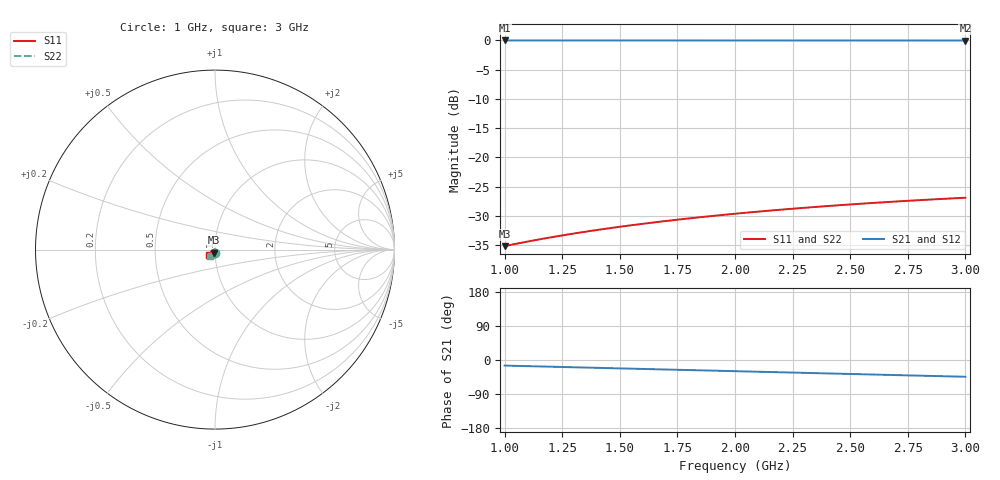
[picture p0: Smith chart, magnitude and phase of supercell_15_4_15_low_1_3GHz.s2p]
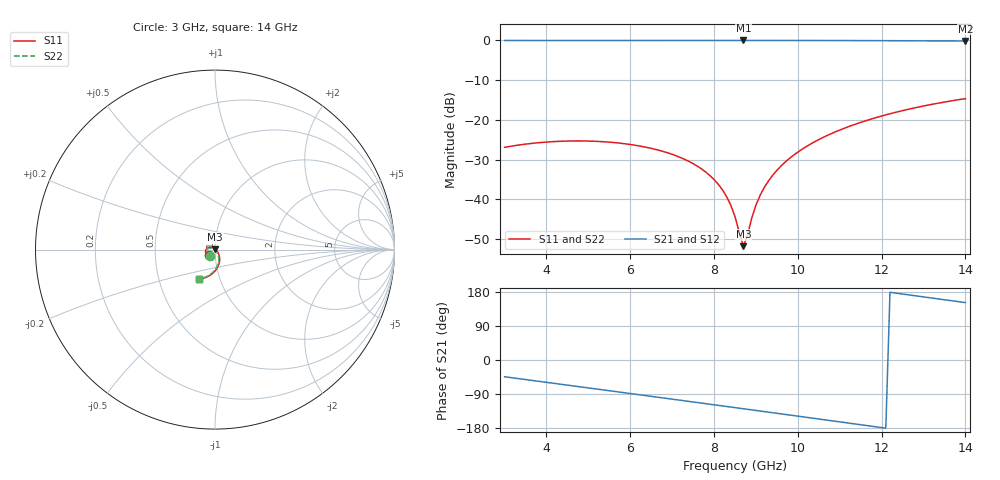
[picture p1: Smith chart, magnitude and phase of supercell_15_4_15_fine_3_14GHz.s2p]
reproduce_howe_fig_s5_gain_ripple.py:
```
#!/usr/bin/env python3
"""Analytic and numerical reflection ripple for the baseline device.

Howe et al., arXiv:2507.07706, Eq. (S.1) supplies the analytic estimate.
The baseline calculation uses the step-34 gain profile at 14.10 GHz,
unit power transmittivity, and Bloch boundary reflection coefficients.
An eight-mode solve resolves numerical ripple over 6–8 GHz.
Outputs are stored in result step 37."""

from __future__ import annotations

import csv
import time

from _bootstrap import ROOT

import matplotlib.pyplot as plt
import numpy as np
from twpasolver import TWPAnalysis
from twpasolver.modes_rwa import ModeArrayFactory

from device_models import build_twpa_from_hfss
from gain_ripple import db_to_linear_power, gain_ripple_db
from hfss_bloch import apply_bloch_parameters
from io_utils import read_touchstone, write_csv_rows, write_json
from plotting import save_figure

INPUTS = ROOT / "hfss_inputs"
OUTPUT = ROOT / "results" / "bloch_corrected" / "step_37_gain_ripple_analytic"
STEP34 = ROOT / "results" / "bloch_corrected" / "step_34_howe_fig3_hfss_bloch_reproduction"
CELLS_PER_SUPERCELL = 34

OUR_GBP_OPTIMAL_PUMP_GHZ = 14.10  # from step_34's 05_provenance.json
OUR_LINE_TRANSMITTIVITY = 1.0  # self-consistent with the project's zero-loss HFSS/Bloch policy
SIGNAL_SWEEP_GHZ = np.arange(2.5, 11.51, 0.05)
FINE_RIPPLE_WINDOW_GHZ = np.arange(
    6.0, 8.001, 0.01
)  # narrow, fine window in the low-ripple part of the dome


def load_measured_supercell_s_parameters() -> tuple[np.ndarray, np.ndarray]:
    """Stitched 1–27 GHz supercell frequencies and S matrices."""
    low_freq, low_s = read_touchstone(INPUTS / "supercell_15_4_15_low_1_3GHz.s2p")
    fine_freq, fine_s = read_touchstone(INPUTS / "supercell_15_4_15_fine_3_14GHz.s2p")
    aux_freq, aux_s = read_touchstone(INPUTS / "supercell_15_4_15_aux_14_27GHz.s2p")
    frequencies_ghz = np.concatenate((low_freq, fine_freq[1:], aux_freq[1:]))
    s_matrices = np.concatenate((low_s, fine_s[1:], aux_s[1:]), axis=0)
    return frequencies_ghz, s_matrices


def reproduce_paper_panels() -> None:
    """Analytic Fig. S.5 panels evaluated on the published parameter grids."""
    reflection_db_grid = np.array([-20, -13, -11, -10])
    reflection_magnitude_grid = 10 ** (reflection_db_grid / 20.0)
    gain_db_axis = np.linspace(0.01, 20, 400)
    gain_linear_axis = db_to_linear_power(gain_db_axis)

    panel_a = {
        f"{g}dB": gain_ripple_db(gain_linear_axis, 1.0, gm)
        for g, gm in zip(reflection_db_grid, reflection_magnitude_grid)
    }
    write_csv_rows(
        OUTPUT / "01_paper_fig_s5_panel_a.csv",
        ["gain_dB", *[f"dG_dB_gamma_{g}dB" for g in reflection_db_grid]],
        [gain_db_axis, *panel_a.values()],
    )

    panel_b = {
        f"{g}dB": gain_ripple_db(gain_linear_axis, 0.5, gm)
        for g, gm in zip(reflection_db_grid, reflection_magnitude_grid)
    }
    write_csv_rows(
        OUTPUT / "02_paper_fig_s5_panel_b.csv",
        ["gain_dB", *[f"dG_dB_gamma_{g}dB" for g in reflection_db_grid]],
        [gain_db_axis, *panel_b.values()],
    )

    reflection_db_axis = np.linspace(-20, -10, 400)
    reflection_magnitude_axis = 10 ** (reflection_db_axis / 20.0)
    gain_20db_linear = db_to_linear_power(np.array(20.0))
    panel_c_lossless = gain_ripple_db(gain_20db_linear, 1.0, reflection_magnitude_axis)
    panel_c_3db_loss = gain_ripple_db(gain_20db_linear, 0.5, reflection_magnitude_axis)
    write_csv_rows(
        OUTPUT / "03_paper_fig_s5_panel_c.csv",
        ["gamma_dB", "dG_dB_eta_1", "dG_dB_eta_0.5"],
        [reflection_db_axis, panel_c_lossless, panel_c_3db_loss],
    )

    fig, (ax_a, ax_b, ax_c) = plt.subplots(1, 3, figsize=(15, 4.5))
    for label, curve in panel_a.items():
        ax_a.plot(gain_db_axis, curve, label=f"|Gamma|={label}")
    ax_a.set(xlabel="Gain, G [dB]", ylabel="dG [dB]", title="(a) eta=1 (lossless)", ylim=(0, 15))
    ax_a.legend(fontsize=8)
    ax_a.grid(alpha=0.3)

    for label, curve in panel_b.items():
        ax_b.plot(gain_db_axis, curve, label=f"|Gamma|={label}")
    ax_b.set(xlabel="Gain, G [dB]", ylabel="dG [dB]", title="(b) eta=0.5 (3 dB IL)", ylim=(0, 5))
    ax_b.legend(fontsize=8)
    ax_b.grid(alpha=0.3)

    ax_c.plot(reflection_db_axis, panel_c_lossless, label="eta=1")
    ax_c.plot(reflection_db_axis, panel_c_3db_loss, label="eta=0.5")
    ax_c.set(xlabel="|Gamma| [dB]", ylabel="dG [dB]", title="(c) G=20 dB", ylim=(0, 20))
    ax_c.legend(fontsize=8)
    ax_c.grid(alpha=0.3)

    fig.suptitle("Exact reproduction of Fig. S.5 (Eq. S.1 is a disclosed formula, not data)")
    fig.tight_layout()
    save_figure(fig, OUTPUT, "fig_s5_reproduction")
    plt.close(fig)


def main() -> None:
    OUTPUT.mkdir(parents=True, exist_ok=True)
    reproduce_paper_panels()

    twpa, provenance = build_twpa_from_hfss(
        INPUTS / "hfss_cell_parameters.csv", INPUTS / "amplifier_config.json"
    )
    config = provenance["amplifier_config"]
    initial_signal_current_a = float(config["Is0_A"])

    measured_freq_ghz, measured_s = load_measured_supercell_s_parameters()

    engineered = TWPAnalysis(
        twpa=twpa,
        f_arange=(
            config["base_frequency_start_GHz"],
            config["base_frequency_stop_GHz"],
            config["base_frequency_step_GHz"],
        ),
        unit="GHz",
    )
    engineered.update_base_data()
    apply_bloch_parameters(engineered.data, measured_freq_ghz, measured_s, CELLS_PER_SUPERCELL)

    freqs_ghz = np.asarray(engineered.data["freqs"], dtype=float)
    reflection_magnitude_by_freq = np.abs(np.asarray(engineered.data["gammas"], dtype=complex))

    gain_rows = list(
        csv.DictReader((STEP34 / "04_gain_profiles.csv").open(newline="", encoding="utf-8"))
    )
    gbp_column = next(key for key in gain_rows[0] if "max_gbp" in key)
    signal_ghz = np.array([float(row["signal_GHz"]) for row in gain_rows])
    our_gain_db = np.array([float(row[gbp_column]) for row in gain_rows])
    our_reflection_magnitude = np.interp(signal_ghz, freqs_ghz, reflection_magnitude_by_freq)

    write_csv_rows(
        OUTPUT / "04_our_device_gamma_and_gain.csv",
        ["signal_GHz", "our_gain_dB", "our_gamma_mag"],
        [signal_ghz, our_gain_db, our_reflection_magnitude],
    )

    our_ripple_db = gain_ripple_db(
        db_to_linear_power(our_gain_db), OUR_LINE_TRANSMITTIVITY, our_reflection_magnitude
    )
    reflection_term = (
        db_to_linear_power(our_gain_db) * OUR_LINE_TRANSMITTIVITY * our_reflection_magnitude**2
    )

    write_csv_rows(
        OUTPUT / "05_our_device_analytic_ripple.csv",
        ["signal_GHz", "G_eta_Gamma2", "dG_analytic_dB"],
        [signal_ghz, reflection_term, our_ripple_db],
    )

    fig, ax_gain = plt.subplots(figsize=(8, 5))
    ax_gain.plot(signal_ghz, our_gain_db, color="tab:blue", label="Our model's gain, G(f) [dB]")
    ax_gain.set_xlabel("Signal frequency [GHz]")
    ax_gain.set_ylabel("Gain [dB]", color="tab:blue")
    ax_ripple = ax_gain.twinx()
    ax_ripple.plot(signal_ghz, our_ripple_db, color="tab:red", label="Analytic ripple, dG(f) [dB]")
    ax_ripple.set_ylabel("Analytic ripple dG [dB] (Eq. S.1)", color="tab:red")
    diverges = ~np.isfinite(our_ripple_db)
    if diverges.any():
        ax_ripple.axvspan(
            signal_ghz[diverges].min(),
            signal_ghz[diverges].max(),
            color="red",
            alpha=0.15,
            label="Eq. S.1 diverges here (G*eta*|Gamma|^2 >= 1)",
        )
    ax_gain.set_title(
        f"Our device: predicted gain and Eq. (S.1) ripple at pump={OUR_GBP_OPTIMAL_PUMP_GHZ} GHz"
    )
    gain_handles, gain_labels = ax_gain.get_legend_handles_labels()
    ripple_handles, ripple_labels = ax_ripple.get_legend_handles_labels()
    ax_gain.legend(
        gain_handles + ripple_handles, gain_labels + ripple_labels, fontsize=8, loc="upper left"
    )
    fig.tight_layout()
    save_figure(fig, OUTPUT, "06_our_device_analytic_ripple")
    plt.close(fig)

    modes = ModeArrayFactory.create_extended_3wm(
        engineered.data, n_pump_harmonics=1, n_frequency_conversion=1, n_signal_harmonics=1
    )
    engineered.add_mode_array("all_8_modes", modes)

    print(
        f"Fine general-model sweep: {len(FINE_RIPPLE_WINDOW_GHZ)} points at pump={OUR_GBP_OPTIMAL_PUMP_GHZ} GHz ..."
    )
    sweep_start_time = time.time()
    result = engineered.gain(
        FINE_RIPPLE_WINDOW_GHZ,
        pump=OUR_GBP_OPTIMAL_PUMP_GHZ,
        Is0=initial_signal_current_a,
        model="general",
        mode_array_config="all_8_modes",
        thin=400,
    )
    fine_gain_db = np.asarray(result["gain_db"], dtype=float)
    elapsed_s = time.time() - sweep_start_time
    print(f"Fine sweep done in {elapsed_s:.1f}s")

    numeric_ripple_peak_to_peak_db = float(fine_gain_db.max() - fine_gain_db.min())
    mean_gain_in_window_db = float(np.mean(fine_gain_db))
    reflection_magnitude_in_window = np.interp(
        np.mean(FINE_RIPPLE_WINDOW_GHZ), freqs_ghz, reflection_magnitude_by_freq
    )
    analytic_ripple_in_window_db = float(
        gain_ripple_db(
            np.array([db_to_linear_power(mean_gain_in_window_db)]),
            OUR_LINE_TRANSMITTIVITY,
            np.array([reflection_magnitude_in_window]),
        )[0]
    )

    write_csv_rows(
        OUTPUT / "06_fine_numeric_ripple_check.csv",
        ["signal_GHz", "gain_dB_general_model"],
        [FINE_RIPPLE_WINDOW_GHZ, fine_gain_db],
    )

    fig, ax = plt.subplots(figsize=(8, 5))
    ax.plot(FINE_RIPPLE_WINDOW_GHZ, fine_gain_db, color="tab:green", lw=1.2)
    ax.axhline(
        mean_gain_in_window_db,
        color="gray",
        ls=":",
        lw=1,
        label=f"mean = {mean_gain_in_window_db:.2f} dB",
    )
    ax.set_xlabel("Signal frequency [GHz]")
    ax.set_ylabel("Gain [dB], general model (reflections on)")
    ax.set_title(
        f"Fine numeric ripple check\nobserved peak-to-peak = {numeric_ripple_peak_to_peak_db:.3f} dB, Eq. (S.1) predicts {analytic_ripple_in_window_db:.3f} dB"
    )
    ax.legend(fontsize=8)
    ax.grid(alpha=0.3)
    fig.tight_layout()
    save_figure(fig, OUTPUT, "07_fine_numeric_ripple_check")
    plt.close(fig)

    provenance_out = {
        "figure_reproduced": "Fig. S.5 / Eq. (S.1), Howe et al. 2507.07706, Appendix B",
        "method": "Eq. (S.1) is a disclosed closed-form formula, reproduced exactly (not digitized)",
        "our_device_gain_source": str((STEP34 / "04_gain_profiles.csv").relative_to(ROOT)),
        "our_device_gamma_source": "engineered.data['gammas'] (Bloch-extracted S11/S22 of the real 15-4-15 HFSS supercell)",
        "eta_assumption": "eta=1; dissipative loss omitted",
        "our_pump_GHz": OUR_GBP_OPTIMAL_PUMP_GHZ,
        "fine_numeric_check": {
            "signal_window_GHz": [
                float(FINE_RIPPLE_WINDOW_GHZ[0]),
                float(FINE_RIPPLE_WINDOW_GHZ[-1]),
            ],
            "step_GHz": 0.01,
            "n_points": len(FINE_RIPPLE_WINDOW_GHZ),
            "observed_peak_to_peak_ripple_dB": numeric_ripple_peak_to_peak_db,
            "mean_gain_in_window_dB": mean_gain_in_window_db,
            "gamma_mag_in_window": float(reflection_magnitude_in_window),
            "analytic_ripple_prediction_dB": analytic_ripple_in_window_db,
        },
        "our_device_ripple_diverges_eq_s1": bool(np.any(~np.isfinite(our_ripple_db))),
    }
    write_json(OUTPUT / "07_provenance.json", provenance_out)

    print(
        f"Numeric peak-to-peak ripple in {FINE_RIPPLE_WINDOW_GHZ[0]}-{FINE_RIPPLE_WINDOW_GHZ[-1]} GHz window: {numeric_ripple_peak_to_peak_db:.3f} dB"
    )
    print(
        f"Eq. (S.1) analytic prediction at mean gain/Gamma in that window: {analytic_ripple_in_window_db:.3f} dB"
    )
    print(f"Wrote outputs to {OUTPUT}")


if __name__ == "__main__":
    main()
```
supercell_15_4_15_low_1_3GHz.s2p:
! Touchstone file exported from HFSS 2026.1.0
!  Generated:  11:23:11 AM Aug 21, 2026
!  Design:  HFSSDesign_Supercell_15_4_15
!  Project:  15-4-15_super_cell
!  Setup:  Setup1
!  Solution:  Sweep_small_freq
! Variables:
!  stub_length = 12.1um
# GHz S MA R 50.000000
! Terminal data exported
! Port[1] = Port1
! Port[2] = Port2
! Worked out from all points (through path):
!   111 points, 1 GHz to 3 GHz, reference 50 ohm
!   highest |S21| = 0.00 dB at 1 GHz (marker M1); lowest = 0.0 dB at 3 GHz (marker M2)
!   group delay of S21, straight-line fit = 41 ps
!   lowest |S11| = -35.2 dB at 1 GHz (marker M3), VSWR 1.04, Z = 49.4 - j1.61 ohm
!   |S11| at or under -10 dB: start of sweep to end of sweep
!   |S22| runs from -35.2 to -26.9 dB; largest |S21 - S12| = 1.9e-09
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1  0.01747 -110.6  0.9998 -14.8  0.9998 -14.8  0.01747 -98.9
! Gamma 0 862.845280752451 6.5058934368281E-32 867.127841156659
! Port Impedance 50 0 50 0
1.109091  0.01928 -111.7  0.9998 -16.4  0.9998 -16.4  0.01928 -101.1
1.218182  0.02107 -112.8  0.9998 -18.0  0.9998 -18.0  0.02107 -103.1
1.327273  0.02284 -114.1  0.9997 -19.6  0.9997 -19.6  0.02284 -105.1
1.454545  0.02486 -115.6  0.9997 -21.5  0.9997 -21.5  0.02486 -107.3
1.709091  0.02879 -118.8  0.9996 -25.2  0.9996 -25.2  0.02879 -111.6
2  0.03306 -122.7  0.9995 -29.5  0.9995 -29.5  0.03306 -116.3
2.236364  0.03631 -125.9  0.9993 -33.0  0.9993 -33.0  0.03631 -120.1
2.472727  0.03935 -129.2  0.9992 -36.5  0.9992 -36.5  0.03935 -123.7
2.727273  0.04238 -132.8  0.9991 -40.2  0.9991 -40.2  0.04238 -127.7
3  0.04529 -136.7  0.999 -44.2  0.999 -44.2  0.04529 -131.8
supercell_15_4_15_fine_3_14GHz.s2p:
! Touchstone file exported from HFSS 2026.1.0
!  Generated:  01:10:25 PM Aug 20, 2026
!  Design:  HFSSDesign_Supercell_15_4_15
!  Project:  15-4-15_super_cell
!  Setup:  Setup1
!  Solution:  Sweep_16_2_16_fine
! Variables:
!  stub_length = 12.1um
# GHz S MA R 50.000000
! Terminal data exported
! Port[1] = Port1
! Port[2] = Port2
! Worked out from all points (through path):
!   111 points, 3 GHz to 14 GHz, reference 50 ohm
!   highest |S21| = 0.00 dB at 8.7 GHz (marker M1); lowest = -0.2 dB at 14 GHz (marker M2)
!   group delay of S21, straight-line fit = 41.5 ps
!   lowest |S11| = -51.7 dB at 8.7 GHz (marker M3), VSWR 1.01, Z = 50.1 + j0.218 ohm
!   |S11| at or under -10 dB: start of sweep to end of sweep
!   |S22| runs from -51.7 to -14.6 dB; largest |S21 - S12| = 0.00023
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3  0.04529 -136.7  0.999 -44.2  0.999 -44.2  0.04529 -131.8
! Gamma 0 2588.53611777122 9.04066273999306E-32 2601.38380860688
! Port Impedance 50 0 50 0
5  0.0543 -166.0  0.9985 -73.7  0.9985 -73.7  0.0543 -161.4
6.8  0.03997 166.2  0.9992 -100.4  0.9992 -100.4  0.03997 173.1
7.9  0.02003 146.1  0.9998 -116.7  0.9998 -116.7  0.02003 160.5
8.3  0.01087 133.7  0.9999 -122.7  0.9999 -122.7  0.01087 160.9
8.5  0.006097 119.5  1 -125.7  1 -125.7  0.006097 169.2
8.7  0.002588 57.0  1 -128.7  1 -128.7  0.002588 -134.3
9.2  0.01419 -35.6  0.9999 -136.2  0.9999 -136.2  0.01419 -56.7
10.1  0.0428 -56.2  0.9991 -149.7  0.9991 -149.7  0.0428 -63.2
12  0.1121 -87.1  0.9937 -178.4  0.9937 -178.4  0.1121 -89.6
14  0.1854 -117.9  0.9827 151.5  0.9827 151.5  0.1854 -119.1
